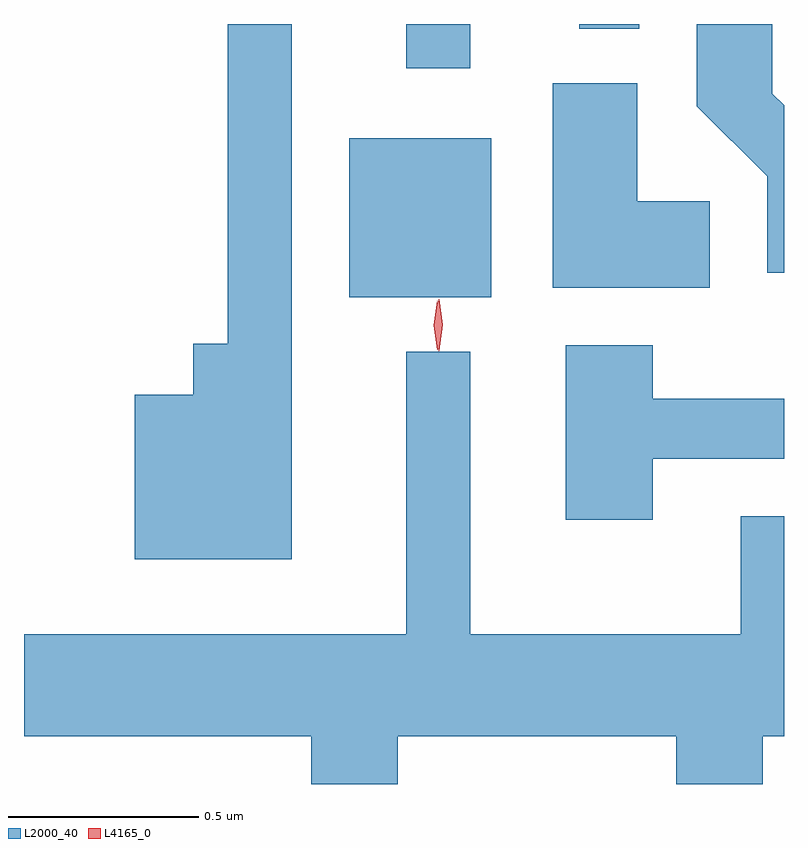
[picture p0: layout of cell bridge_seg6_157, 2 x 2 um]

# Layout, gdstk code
import gdstk
lib = gdstk.Library(unit=1e-6, precision=1e-09)
def R(c, l, rs):  # rectangles x0, y0, x1, y1
    for r in rs: c.add(gdstk.rectangle(r[:2], r[2:], *l))
def P(c, l, *ps):  # polygons
    for p in ps: c.add(gdstk.Polygon(p, *l))
L2000_40 = (2000, 40)
L4165_0 = (4165, 0)

bridge_seg6_157 = lib.new_cell('bridge_seg6_157')
R(bridge_seg6_157, L2000_40, [(1186.371,1586.711,1186.744,1587.129), (1186.521,1587.313,1186.689,1587.43), (1186.976,1587.418,1187.134,1587.43)])
P(bridge_seg6_157, L2000_40, [(1187.515,1587.216),(1187.484,1587.247),(1187.484,1587.43),(1187.286,1587.43),(1187.286,1587.214),(1187.471,1587.029),(1187.471,1586.776),(1187.515,1586.776)],
  [(1186.219,1587.43),(1186.051,1587.43),(1186.051,1586.589),(1185.961,1586.589),(1185.961,1586.454),(1185.806,1586.454),(1185.806,1586.021),(1186.219,1586.021)],
  [(1187.319,1586.964),(1187.129,1586.964),(1187.129,1587.274),(1186.906,1587.274),(1186.906,1586.736),(1187.319,1586.736)],
  [(1187.169,1586.286),(1187.515,1586.286),(1187.515,1586.444),(1187.169,1586.444),(1187.169,1586.584),(1186.941,1586.584),(1186.941,1586.126),(1187.169,1586.126)],
  [(1186.499,1585.556),(1187.231,1585.556),(1187.231,1585.43),(1187.459,1585.43),(1187.459,1585.556),(1187.515,1585.556),(1187.515,1586.134),(1187.401,1586.134),(1187.401,1585.824),(1186.689,1585.824),(1186.689,1586.568),(1186.521,1586.568),(1186.521,1585.824),(1185.515,1585.824),(1185.515,1585.556),(1186.271,1585.556),(1186.271,1585.43),(1186.499,1585.43)])
P(bridge_seg6_157, L4165_0, [(1186.607,1586.569),(1186.606,1586.57),(1186.597,1586.638),(1186.606,1586.706),(1186.607,1586.706),(1186.608,1586.706),(1186.617,1586.638),(1186.608,1586.57)],
  [(1186.603,1586.573),(1186.593,1586.637),(1186.602,1586.702),(1186.603,1586.702),(1186.603,1586.702),(1186.613,1586.637),(1186.604,1586.573),(1186.604,1586.573)])

lib.write_gds('bridge_seg6_157.gds')
